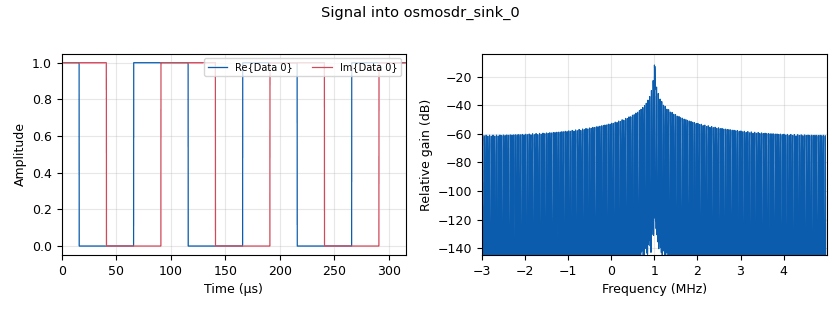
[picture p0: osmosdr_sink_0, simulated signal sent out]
<?xml version='1.0' encoding='utf-8'?>
<flow_graph>
<block>
<key>options</key>
<param><key>id</key><value>top_block</value></param>
<param><key>generate_options</key><value>wx_gui</value></param>
<param><key>category</key><value>Custom</value></param>
</block>
<block>
<key>variable</key>
<param><key>id</key><value>samp_rate</value></param>
<param><key>value</key><value>8e6</value></param>
</block>
<block>
<key>variable</key>
<param><key>id</key><value>freq_l1</value></param>
<param><key>value</key><value>1e6</value></param>
</block>
<block>
<key>analog_sig_source_x</key>
<param><key>id</key><value>analog_sig_source_x_0</value></param>
<param><key>type</key><value>complex</value></param>
<param><key>samp_rate</key><value>samp_rate</value></param>
<param><key>waveform</key><value>analog.GR_SQR_WAVE</value></param>
<param><key>freq</key><value>1e4</value></param>
<param><key>amp</key><value>1</value></param>
<param><key>offset</key><value>0</value></param>
</block>
<block>
<key>osmosdr_sink</key>
<param><key>id</key><value>osmosdr_sink_0</value></param>
<param><key>type</key><value>fc32</value></param>
<param><key>args</key><value>bladerf=0,fpga='/home/netassist/Downloads/hostedx40.rbf'</value></param>
<param><key>sample_rate</key><value>samp_rate</value></param>
<param><key>freq0</key><value>freq_l1</value></param>
<param><key>gain0</key><value>5</value></param>
<param><key>if_gain0</key><value>0</value></param>
<param><key>bb_gain0</key><value>0</value></param>
</block>
<connection><source_block_id>analog_sig_source_x_0</source_block_id><sink_block_id>osmosdr_sink_0</sink_block_id><source_key>0</source_key><sink_key>0</sink_key></connection>
</flow_graph>
